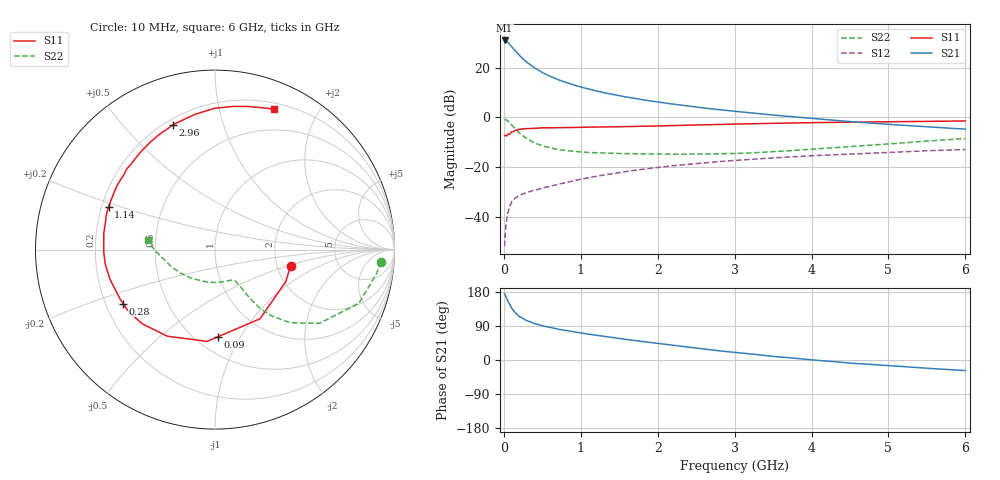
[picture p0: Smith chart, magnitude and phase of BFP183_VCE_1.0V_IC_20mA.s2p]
! Infineon Technologies  Discrete & RF Semiconductors
! BFP183
! VCE = 1.0 V,  IC =  20 mA
! Common Emitter S-Parameters:  Jan 2016
# GHz  S  MA  R  50
!  f  S11  S21  S12  S22
! GHz  MAG  ANG  MAG  ANG  MAG  ANG  MAG  ANG
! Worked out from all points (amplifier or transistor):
!   210 points, 10 MHz to 6 GHz, reference 50 ohm
!   highest |S21| = 30.9 dB at 10 MHz (marker M1)
!   |S21| within 3 dB of that: start of sweep to 116.9 MHz
!   unconditionally stable (mu >= 1): 574.2 MHz to end of sweep
!   at 185 MHz: K = 0.47, MSG = 28.6 dB, |S12| = -31.6 dB
!   at 1.52 GHz: K = 1.30, MAG = 12.0 dB, |S12| = -22.0 dB
!   at 6 GHz: K = 1.06, MAG = 2.6 dB, |S12| = -12.9 dB
!   S11 on the Smith chart (normalised r, x): 10 MHz: 2.37, -0.53; 90 MHz: 0.63, -0.81; 280 MHz: 0.27, -0.25; 1.14 GHz: 0.23, +0.18; 2.96 GHz: 0.23, +0.69; 6 GHz: 0.26, +1.47
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0.01  0.4311 -12.2  35.07 175.0  0.0026 86.3  0.9257 -4.2
0.02  0.4328 -24.4  34.85 170.2  0.005 80.8  0.9101 -8.5
0.05  0.4599 -57.0  32.57 155.5  0.012 71.8  0.8551 -20.5
0.09  0.4864 -88.2  27.6 141.3  0.0183 57.8  0.7368 -31.8
0.1  0.5131 -94.9  26.68 137.0  0.02 55.7  0.7126 -35.2
0.15  0.5508 -118.8  21.59 123.9  0.0242 49.6  0.5842 -44.2
0.2  0.5789 -134.4  17.76 115.1  0.0272 45.8  0.4898 -49.3
0.24  0.5888 -142.9  15.41 110.0  0.0287 44.8  0.4358 -51.5
0.28  0.5937 -149.6  13.58 105.7  0.0304 44.2  0.3916 -52.9
0.3  0.596 -152.6  12.75 103.6  0.0313 44.0  0.3711 -53.5
0.4  0.6081 -164.1  9.844 95.9  0.0345 44.9  0.3066 -54.9
0.5  0.6165 -172.3  7.944 90.3  0.038 45.6  0.2693 -55.4
0.7  0.6219 176.1  5.745 81.5  0.045 48.9  0.2278 -55.9
1.02  0.6351 162.2  4.002 70.7  0.058 51.3  0.2019 -58.6
1.14  0.6389 158.0  3.592 67.1  0.0631 51.7  0.1968 -60.2
1.5  0.6524 146.2  2.723 56.6  0.0783 51.4  0.1885 -66.6
2.02  0.6748 131.2  2.01 43.1  0.0996 48.1  0.1847 -79.6
2.96  0.7326 108.8  1.348 20.9  0.1357 40.1  0.1882 -110.5
3.1  0.7393 106.0  1.282 18.2  0.1405 38.8  0.1908 -115.5
4.1  0.7898 88.6  0.928 -1.1  0.1725 29.5  0.2357 -148.0
5.1  0.8207 76.0  0.709 -16.1  0.2002 21.4  0.3007 -172.2
6  0.8494 67.2  0.582 -28.0  0.2263 12.7  0.3761 172.1
